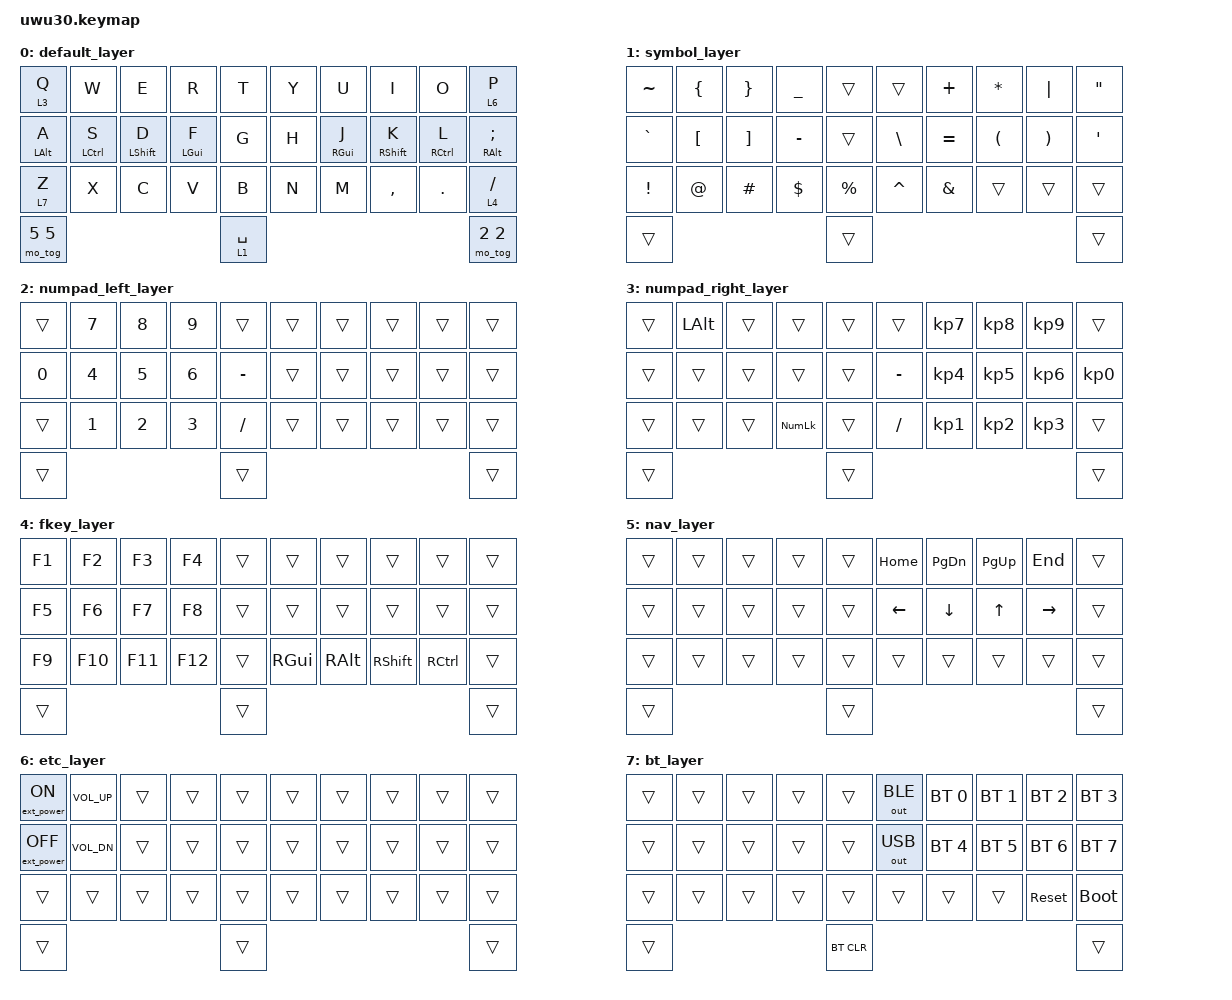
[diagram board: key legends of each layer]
/*
 * Copyright (c) 2023 The ZMK Contributors
 *
 * SPDX-License-Identifier: MIT
 */

#include <behaviors.dtsi>
#include <dt-bindings/zmk/bt.h>
#include <dt-bindings/zmk/ext_power.h>
#include <dt-bindings/zmk/keys.h>
#include <dt-bindings/zmk/outputs.h>

#include "less_behaviors.dtsi"
/*
  TODO: rewrite all my combos because of position-based numbering, thanks ZMK!
  #include "s40nc_combos.dtsi"
*/
#include "less_macros.dtsi"

/ {

    chosen { zmk,physical-layout = &full_space_wkl_layout; };

    keymap {
        compatible = "zmk,keymap";

        default_layer {
            bindings = <
                &lt 3 Q     &kp W        &kp E        &kp R        &kp T        &kp Y        &kp U       &kp I           &kp O       &lt 6 P
                &mt LALT A  &mt LCTRL S  &mt LSHFT D  &mt LGUI F   &kp G        &kp H   &mt RGUI J &mt RSHFT K     &mt RCTRL L  &mt RALT SEMI
                &lt 7 Z     &kp X        &kp C        &kp V        &kp B        &kp N        &kp M       &kp COMMA       &kp DOT     &lt 4 FSLH
                &mo_tog 5 5                                        &lt 1 SPACE                                                       &mo_tog 2 2
            >;
        };

        symbol_layer {
            bindings = <
                &kp TILDE  &kp LBRC  &kp RBRC  &kp UNDER &trans     &trans     &kp PLUS  &kp STAR  &kp PIPE  &kp DQT
                &kp GRAVE  &kp LBKT  &kp RBKT  &kp MINUS &trans     &kp BSLH   &kp EQUAL &kp LPAR  &kp RPAR  &kp SQT
                &kp EXCL   &kp AT    &kp HASH  &kp DLLR  &kp PRCNT  &kp CARET  &kp AMPS  &trans    &trans    &trans
                &trans                                   &trans                                              &trans
            >;
        };

        numpad_left_layer {
            bindings = <
                &trans  &kp N7  &kp N8  &kp N9  &trans     &trans  &trans  &trans  &trans  &trans
                &kp N0  &kp N4  &kp N5  &kp N6  &kp MINUS  &trans  &trans  &trans  &trans  &trans
                &trans  &kp N1  &kp N2  &kp N3  &kp FSLH   &trans  &trans  &trans  &trans  &trans
                &trans                          &trans                                     &trans
            >;
        };

        numpad_right_layer {
            bindings = <
                &trans  &kp LALT  &trans  &trans      &trans  &trans     &kp KP_N7  &kp KP_N8  &kp KP_N9  &trans
                &trans  &trans    &trans  &trans      &trans  &kp MINUS  &kp KP_N4  &kp KP_N5  &kp KP_N6  &kp KP_N0
                &trans  &trans    &trans  &kp KP_NUM  &trans  &kp FSLH   &kp KP_N1  &kp KP_N2  &kp KP_N3  &trans
                &trans                                &trans                                              &trans
            >;
        };

        fkey_layer {
            bindings = <
                &kp F1  &kp F2  &kp F3  &kp F4    &trans  &trans    &trans     &trans     &trans     &trans
                &kp F5  &kp F6  &kp F7  &kp F8    &trans  &trans    &trans     &trans     &trans     &trans
                &kp F9  &kp F10 &kp F11 &kp F12   &trans  &kp RGUI  &kp RALT   &kp RSHFT  &kp RCTRL  &trans
                &trans                            &trans                                             &trans
            >;
        };

        nav_layer {
            bindings = <
                &trans    &trans  &trans  &trans  &trans  &kp HOME  &kp PG_DN  &kp PG_UP  &kp END    &trans
                &trans    &trans  &trans  &trans  &trans  &kp LEFT  &kp DOWN   &kp UP     &kp RIGHT  &trans
                &trans    &trans  &trans  &trans  &trans  &trans    &trans     &trans     &trans     &trans
                &trans                            &trans                                             &trans
            >;
        };

        etc_layer {
            bindings = <
                &ext_power EP_ON   &kp C_VOL_UP  &trans  &trans  &trans  &trans  &trans  &trans  &trans  &trans
                &ext_power EP_OFF  &kp C_VOL_DN  &trans  &trans  &trans  &trans  &trans  &trans  &trans  &trans
                &trans             &trans        &trans  &trans  &trans  &trans  &trans  &trans  &trans  &trans
                &trans                                           &trans                                  &trans
            >;
        };

        bt_layer {
            bindings = <
                &trans  &trans  &trans      &trans  &trans      &out OUT_BLE  &bt BT_SEL 0  &bt BT_SEL 1  &bt BT_SEL 2  &bt BT_SEL 3
                &trans  &trans  &trans      &trans  &trans      &out OUT_USB  &bt BT_SEL 4  &bt BT_SEL 5  &bt BT_SEL 6  &bt BT_SEL 7
                &trans  &trans  &trans      &trans  &trans      &trans        &trans        &trans        &sys_reset    &bootloader
                &trans                              &bt BT_CLR                                                          &trans
            >;
        };
    };
};
